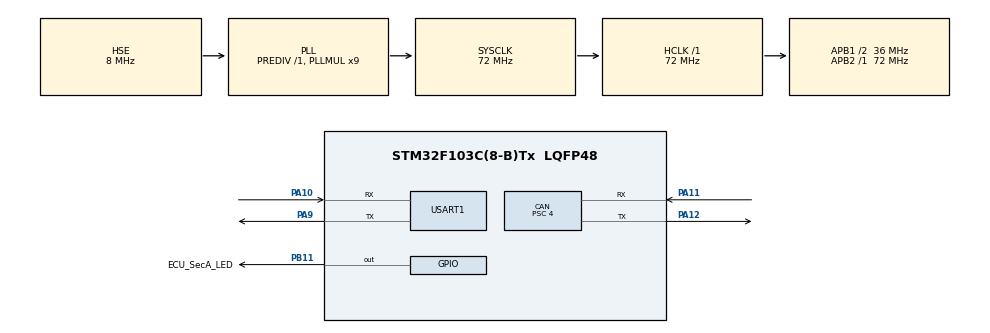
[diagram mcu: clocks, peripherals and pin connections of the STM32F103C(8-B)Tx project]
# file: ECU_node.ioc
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CAN.BS1=CAN_BS1_13TQ
CAN.BS2=CAN_BS2_4TQ
CAN.CalculateBaudRate=500000
CAN.CalculateTimeBit=2000
CAN.CalculateTimeQuantum=111.11111111111111
CAN.NART=ENABLE
CAN.Prescaler=4
CAN.SJW=CAN_SJW_2TQ
Mcu.Family=STM32F1
Mcu.Name=STM32F103C(8-B)Tx
Mcu.Package=LQFP48
NVIC.CAN1_RX1_IRQn=true\:0\:0\:false\:false\:true\:true\:true\:true
NVIC.PriorityGroup=NVIC_PRIORITYGROUP_4
NVIC.TIM4_IRQn=true\:0\:0\:false\:false\:true\:true\:true\:true
NVIC.USART1_IRQn=true\:0\:0\:false\:false\:true\:true\:true\:true
PA10.Mode=Asynchronous
PA10.Signal=USART1_RX
PA11.Mode=CAN_Activate
PA11.Signal=CAN_RX
PA12.Mode=CAN_Activate
PA12.Signal=CAN_TX
PA13.Mode=Serial_Wire
PA13.Signal=SYS_JTMS-SWDIO
PA14.Mode=Serial_Wire
PA14.Signal=SYS_JTCK-SWCLK
PA9.Mode=Asynchronous
PA9.Signal=USART1_TX
PB11.GPIO_Label=ECU_SecA_LED
PB11.GPIO_Speed=GPIO_SPEED_FREQ_HIGH
PB11.Signal=GPIO_Output
PD0-OSC_IN.Mode=HSE-External-Oscillator
PD0-OSC_IN.Signal=RCC_OSC_IN
PD1-OSC_OUT.Mode=HSE-External-Oscillator
PD1-OSC_OUT.Signal=RCC_OSC_OUT
ProjectManager.HeapSize=0x200
ProjectManager.StackSize=0x400
ProjectManager.TargetToolchain=STM32CubeIDE
RCC.AHBFreq_Value=72000000
RCC.APB1CLKDivider=RCC_HCLK_DIV2
RCC.APB1Freq_Value=36000000
RCC.APB1TimFreq_Value=72000000
RCC.APB2Freq_Value=72000000
RCC.APB2TimFreq_Value=72000000
RCC.HCLKFreq_Value=72000000
RCC.PLLMUL=RCC_PLL_MUL9
RCC.PLLSourceVirtual=RCC_PLLSOURCE_HSE
RCC.SYSCLKFreq_VALUE=72000000
RCC.SYSCLKSource=RCC_SYSCLKSOURCE_PLLCLK
RCC.USBFreq_Value=72000000
TIM4.AutoReloadPreload=TIM_AUTORELOAD_PRELOAD_ENABLE
TIM4.Period=9
TIM4.Prescaler=3599
USART1.VirtualMode=VM_ASYNC
VP_TIM4_VS_ClockSourceINT.Mode=Internal
board=custom

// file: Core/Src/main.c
/* USER CODE BEGIN Header */
/**
  ******************************************************************************
  * @file           : main.c
  * @brief          : Main program body
  * @identity		: ECU module
  ******************************************************************************
  * @attention
  *
  * Copyright (c) 2023 STMicroelectronics.
  * All rights reserved.
  *
  * This software is licensed under terms that can be found in the LICENSE file
  * in the root directory of this software component.
  * If no LICENSE file comes with this software, it is provided AS-IS.
  *
  ******************************************************************************
  */
/* USER CODE END Header */
#include "main.h"

/* USER CODE BEGIN Includes */
#include "stdint.h"
#include "string.h"
#include "stdio.h"
#include "stdlib.h"
/* USER CODE END Includes */

/* USER CODE BEGIN PTD */
typedef enum
{
	IDLE_STATE,
	READREQUEST_STATE,
	SECURITY_ACCESS_STATE,
	WRITEREQUEST_STATE,
}ECU_Status;

//typedef enum
//{
//	READ_SINGLEFRAME, //read seed
//	READ_FIRSTFRAME, //read KEY supported
//	READ_CONSECUTIVEFRAME, //read KEY supported
//	READ_FLOWCONTROL,
//}Frame_Status;

typedef enum
{
	SEND_SEED,
	CALCULATE_ECU_KEY,
	GET_TESTERKEY,
	AUTHENTICATE_TESTERKEY,
}Security_Status;

typedef enum
{
	LEVEL1,
}SecLevel;

/* USER CODE END PTD */

/* USER CODE BEGIN PD */
/*Diagnostic Message Format*/
#define FT_SINGLEFRAME 0x00
#define FT_FIRSTFRAME 0x10
#define FT_CONSECUTIVEFRAME 0x20
#define FT_FLOWCONTROL 0x30
/*Diagnostic Message Format*/
/*Data length Define*/
#define DL_NONE_DATABYTE 0x00
#define DL_1_DATABYTE 0x10
#define DL_2_DATABYTE 0x20
#define DL_3_DATABYTE 0x30
#define DL_4_DATABYTE 0x40
#define DL_5_DATABYTE 0x50
#define DL_6_DATABYTE 0x60
#define DL_7_DATABYTE 0x70
/*Data length Define*/
/*Response define*/
#define POSITIVE_RESPONSE 0x00U
#define NEGATIVE_RESPONSE 0x01U

//DID: 0x0123 - ECU Name (FF) - Test label (SF)
//#define ECU_MANUFACTURER_NAME "STM32F103C8T6" //For FF testcase
#define TEST_LABEL "TEST"
/*Define IDS - Indetifier Services*/
#define ReadDataByIdentifier 0x22
#define WriteDataByIndentifier 0x2E
#define SecurityAccess 0x27

/*Define security level*/
#define SEC_LEVEL1 0x01

/*Define Data Length*/
#define KEY_LENGTH 16
/*Define Data Length*/

/*Valid key definition*/
#define PASS_KEY 0x1
#define INVALID_KEY 0x0
 /**/
/* USER CODE END PD */

CAN_HandleTypeDef hcan;

TIM_HandleTypeDef htim4;

UART_HandleTypeDef huart1;

/* USER CODE BEGIN PV */
CAN_TxHeaderTypeDef ECU_TxHeader;
CAN_RxHeaderTypeDef ECU_RxHeader;

uint32_t ECU_TxMailbox;

uint8_t PositiveReadRsp_TxData[8];
uint8_t NegativeReadRsp_TxData[8] = {0x03,0x7F,0x22,0x13,0x00,0x00,0x00,0x00};
uint8_t SecuritySeed_TxData[8];
uint8_t SecurityFlowControl_TxData[8] = {0x30,0x00,0x00,0x00,0x00,0x00,0x00,0x00};

uint8_t SecurityNegativeResponse_TxData[8] = {0x03,0x7F,0x27,0x13,0x00,0x00,0x00,0x00};
uint8_t SecurityPositiveResponse_TxData[8] = {0x02,0x67,0x02,0x00,0x00,0x00,0x00,0x00};

uint8_t WritePositiveResponse_TxData[8] = {0x01,0x6E,0x00,0x00,0x00,0x00,0x00,0x00};
uint8_t WriteNegativeResponse_TxData[8] = {0x00,0x00,0x00,0x00,0x00,0x00,0x00,0x00};

uint8_t ECU_RxData[8],Tx_Buffer[55];

uint8_t DataBuffer[sizeof(TEST_LABEL)] = TEST_LABEL; //buffer link to 0x0123 DID

uint8_t FT_String, DL_String;

uint8_t FrameType, DataLength;
uint8_t SecurityLevel;

uint16_t DID_Val;
uint8_t key_level;

uint8_t index_array;

uint8_t error_flag = 0,  ReadRq_flag = 0, security_flag = 0;
uint8_t valid_key = 0;
uint8_t DID_available_flag = 0;
uint16_t timer_cnt = 0;

uint8_t seed[4];
uint8_t key[16];
//uint8_t check_key[16];
uint8_t count_checkkey_fc = 0; //count check key -> send flow control
uint8_t tester_key[16];
uint8_t prev_index_array;
uint8_t count_cf_read=1;

ECU_Status ecu_state;
Security_Status security_state = 0;
//Frame_Status frame_recv_state;
SecLevel level;

/* USER CODE END PV */

void SystemClock_Config(void);
static void MX_GPIO_Init(void);
static void MX_CAN_Init(void);
static void MX_USART1_UART_Init(void);
static void MX_TIM4_Init(void);
/* USER CODE BEGIN PFP */
uint8_t SF_N_PCI_FrameTypeHandle(uint8_t byteString);
uint8_t SF_N_PCI_DataLenngthHandle(uint8_t byteString);
uint8_t GetFrameType(uint8_t FT_byteString);
uint8_t GetDataLength(uint8_t DL_byteString);
uint8_t GetSecurityLevel(uint8_t LV_byteSring, uint8_t *keyLV_byteString);
uint8_t Check_ReadRq_Validation(uint8_t FT, uint8_t DL, uint8_t Data_buf[]);
uint8_t GetCANFrameSize(uint8_t aData[]);
uint16_t GetDID(uint8_t DID_HByteString,uint8_t DID_LByteString);
void ReadRequest_handle(void);
void GetDIDValueFromRecordTableOfDID(uint16_t DID_Val,uint8_t *buf_arr);
/* USER CODE END PFP */

/* USER CODE BEGIN 0 */

uint8_t GetSecurityLevel(uint8_t LV_byteSring, uint8_t *keyLV_byteString)
{
	uint8_t SecLevel_res;
	uint8_t key_lv;
	switch(LV_byteSring)
	{
		case SEC_LEVEL1:
		{
			key_lv = 0x02;
			keyLV_byteString = &key_lv;
			SecLevel_res = 0;
			break;
		}
	}
	return SecLevel_res;
}
uint16_t GetDID(uint8_t DID_HByteString,uint8_t DID_LByteString)
{
	uint16_t DID_res;
	DID_res = (DID_HByteString << 8) | DID_LByteString;
	return DID_res;
}
uint8_t GetCANFrameSize(uint8_t aData[])
{
	uint8_t SizeCount = 0;
	for(index_array=0;index_array<8;index_array++)
	{
		if(aData[index_array]!=0)
		{
			SizeCount++;
		}
	}
	return SizeCount;
}
uint8_t Check_ReadRq_Validation(uint8_t FT, uint8_t DL, uint8_t Data_buf[])
{
	uint8_t Resp_res;
	/*Negative response case*/
	//case 1
	if(FT > 3)
	{
		//transmit negative response
		Resp_res = NEGATIVE_RESPONSE;
	} else
	{
		switch(FT)
		{
			case 0: //single frame
			{
				if(DL>7)
				{
					Resp_res = NEGATIVE_RESPONSE;
				} else {
					if(DL != (GetCANFrameSize(Data_buf)-1))
					{
						//transmit negative response
						Resp_res = NEGATIVE_RESPONSE;
					} else {
						Resp_res = POSITIVE_RESPONSE;
					}
				}
				break;
			}
			case 1: //flow control
			{
				break;
			}
		}
	}

	return Resp_res;
}
uint8_t GetFrameType(uint8_t FT_byteString) //Frame type co the dung chung cho SF FF
{
	uint8_t FT_res;
	switch(FT_byteString)
	{
		case 0x00: //single frame
		{
			FT_res = 0;
			break;
		}
		case 0x01: //first frame
		{
			FT_res = 1;
			break;
		}
		case 0x02: //consecutive frame
		{
			FT_res = 2;
			break;
		}
		case 0x03: //flow control
		{
			FT_res = 3;
			break;
		}
	}
	return FT_res;
}
uint8_t GetDataLength(uint8_t DL_byteString) //Get datalength - co the trong tuong lai cai nay se dung chung duoc
{
	uint8_t DL_res;
	switch(DL_byteString)
	{
		case DL_NONE_DATABYTE:
		{
			DL_res = 0;
			break;
		}
		case DL_1_DATABYTE:
		{
			DL_res = 1;
			break;
		}
		case DL_2_DATABYTE:
		{
			DL_res = 2;
			break;
		}
		case DL_3_DATABYTE:
		{
			DL_res = 3;
			break;
		}
		case DL_4_DATABYTE:
		{
			DL_res = 4;
			break;
		}
		case DL_5_DATABYTE:
		{
			DL_res = 5;
			break;
		}
		case  DL_6_DATABYTE:
		{
			DL_res = 6;
			break;
		}
		case DL_7_DATABYTE:
		{
			DL_res = 7;
			break;
		}
	}
	return DL_res;
}
uint8_t SF_N_PCI_FrameTypeHandle(uint8_t byteString) //SF_PCI: Single Frame Protocol Control Info: FT + DL
{
	return (byteString >> 4) & 0x03;
}
uint8_t SF_N_PCI_DataLenngthHandle(uint8_t byteString) //SF_PCI: Single Frame Protocol Control Info: FT + DL
{
	return (byteString << 4) & 0x70;
}
void HAL_CAN_RxFifo1MsgPendingCallback(CAN_HandleTypeDef *hcan)
{
	if(HAL_CAN_GetRxMessage(hcan, CAN_RX_FIFO1, &ECU_RxHeader, ECU_RxData) != HAL_OK)
	{
		Error_Handler();
	}
	else
	{
		ReadRq_flag = 1;
	}
}

void ReadRequest_handle(void)
{
	FT_String = SF_N_PCI_FrameTypeHandle(ECU_RxData[0]);
	DL_String = SF_N_PCI_DataLenngthHandle(ECU_RxData[0]);

	FrameType = GetFrameType(FT_String);
	DataLength = GetDataLength(DL_String);

	if(Check_ReadRq_Validation(FrameType,DataLength, ECU_RxData) != POSITIVE_RESPONSE)
	{
		//transmit negative response CAN frame packet
		HAL_CAN_AddTxMessage(&hcan, &ECU_TxHeader,NegativeReadRsp_TxData,&ECU_TxMailbox);

	} else { //positive response
		DID_Val = GetDID(ECU_RxData[2], ECU_RxData[3]);

		//uint8_t *DataBuffer = (uint8_t*)malloc(sizeof(uint8_t));
		//GetDIDValueFromRecordTableOfDID(DID_Val,DataBuffer);

		switch(DID_Val)
		{
			case 0x0123:
				if(sizeof(DataBuffer)<8){
					PositiveReadRsp_TxData[0] = ECU_RxData[1] + 0x40;
					PositiveReadRsp_TxData[1] = ECU_RxData[2];
					PositiveReadRsp_TxData[2] = ECU_RxData[3];

					PositiveReadRsp_TxData[3] = FT_SINGLEFRAME + sizeof(DataBuffer); //du lieu data co do dai la 4 - TEST
					for (index_array = 0;index_array<sizeof(DataBuffer);index_array++)
					{
						PositiveReadRsp_TxData[index_array+4] = DataBuffer[index_array];
					}
					//gui single frame - chua toan bo du lieu
					if (HAL_CAN_AddTxMessage(&hcan, &ECU_TxHeader,PositiveReadRsp_TxData,&ECU_TxMailbox) != HAL_OK)
					{
						error_flag = 1;
					} else //Transmit oke
					{
						error_flag = 0;
					}
					} else {
						//first frame case - long data
					}
					//free(DataBuffer);
			break;
		}
	}
}

/* USER CODE END 0 */

int main(void)
{

  /* MCU Configuration--------------------------------------------------------*/

  /* Reset of all peripherals, Initializes the Flash interface and the Systick. */
  HAL_Init();

  /* Configure the system clock */
  SystemClock_Config();

  /* Initialize all configured peripherals */
  MX_GPIO_Init();
  MX_CAN_Init();
  MX_USART1_UART_Init();
  MX_TIM4_Init();
  /* USER CODE BEGIN 2 */
  HAL_TIM_Base_Start_IT(&htim4);

  HAL_CAN_Init(&hcan);

  //Send notify signal to recieve message from actuator node
  HAL_CAN_ActivateNotification(&hcan, CAN_IT_RX_FIFO1_MSG_PENDING);

  CAN_FilterTypeDef canfilterconfig;

  canfilterconfig.FilterActivation = CAN_FILTER_ENABLE;
  canfilterconfig.FilterBank = 2;  // anything between 0 to SlaveStartFilterBank
  canfilterconfig.FilterFIFOAssignment = CAN_RX_FIFO1;
  canfilterconfig.FilterIdHigh = 0x712 << 5;
  canfilterconfig.FilterIdLow = 0x0000;
  canfilterconfig.FilterMaskIdHigh = 0x712 << 5;
  canfilterconfig.FilterMaskIdLow = 0x0000;
  canfilterconfig.FilterMode = CAN_FILTERMODE_IDMASK;
  canfilterconfig.FilterScale = CAN_FILTERSCALE_32BIT;
  //canfilterconfig.SlaveStartFilterBank = 14;

   HAL_CAN_ConfigFilter(&hcan, &canfilterconfig);

   HAL_CAN_Start(&hcan);

   //Tx ECU header general
   //Config CAN Tx header
   ECU_TxHeader.DLC = 8;
   ECU_TxHeader.ExtId = 0;
   ECU_TxHeader.IDE = CAN_ID_STD;
   ECU_TxHeader.RTR = CAN_RTR_DATA;
   ECU_TxHeader.StdId = 0x7A2;
   ECU_TxHeader.TransmitGlobalTime = DISABLE;

  /* USER CODE END 2 */

  /* Infinite loop */
  /* USER CODE BEGIN WHILE */
  while (1)
  {
	 HAL_Delay(1000);

	 switch(ecu_state)
	 {
	 	 case IDLE_STATE:
	 	 {
	 		 if(ReadRq_flag == 1)
	 		 {
	 			 switch(ECU_RxData[1])
	 			 {
	 			 	 case ReadDataByIdentifier:
	 			 	 {
	 			 		 ecu_state = READREQUEST_STATE;
	 			 		 break;
	 			 	 }
	 			 	 case WriteDataByIndentifier:
	 			 	 {
	 			 		 if(security_flag == 0)
	 			 		 {
//	 			 			 //do nothing because there is no definition for this - ignore
//	 			 			 //solution 1 - just go back to idle state
//	 			 			 //solution 2 - Security Access then write
	 			 		 }
	 			 		 else if(security_flag == 1)
	 			 		 {
	 			 			ecu_state = WRITEREQUEST_STATE;
	 			 		 }
	 			 		 break;
	 			 	 }
	 			 	 case SecurityAccess:
	 			 	 {
	 			 		 ecu_state = SECURITY_ACCESS_STATE;
	 			 		 break;
	 			 	 }
	 			 }
	 			ReadRq_flag = 0;
	 		 } else if (ReadRq_flag == 0)
	 		 {
	 			 ecu_state = IDLE_STATE;
	 		 }
	 		 break;
	 	 }
	 	 case READREQUEST_STATE:
	 	 {
	 		 ReadRequest_handle();
	 		 ecu_state = IDLE_STATE;
	 		 break;
	 	 }
	 	 case WRITEREQUEST_STATE:
	 	 {
	 		 //receive write request
	 		 if(ReadRq_flag == 1)
	 		 {
	 			 if(FrameType == 0)
	 			 {
	 				DID_Val = GetDID(ECU_RxData[2], ECU_RxData[3]);

	 				switch(DID_Val)
	 				{
	 					case 0x0123:
	 					{
	 						DID_available_flag = 1;
	 						break;
	 					}
	 				}

	 				if(DID_available_flag == 1)
	 				{
	 					//check data length >= 4 bytes
	 					DL_String = SF_N_PCI_DataLenngthHandle(ECU_RxData[0]);
	 					DataLength = GetDataLength(DL_String);

	 					if(DataLength>=4)
	 					{
	 						//write to data buffer
	 						for(index_array = 0;index_array<4;index_array++)
	 						{
	 							DataBuffer[index_array] = ECU_RxData[index_array+4];
	 						}
	 						//send positive response
	 						if(HAL_CAN_AddTxMessage(&hcan,&ECU_TxHeader,WritePositiveResponse_TxData,&ECU_TxMailbox)!=HAL_OK)
	 						{
	 							error_flag = 1;
	 						} else {
	 							error_flag = 0;
	 						}

	 					} else {
	 						//send negative response for data length

	 						WriteNegativeResponse_TxData[0] = 0x7F;
	 						WriteNegativeResponse_TxData[1] = 0x2E;
	 						WriteNegativeResponse_TxData[2] = 0x13;

	 						if(HAL_CAN_AddTxMessage(&hcan,&ECU_TxHeader,WriteNegativeResponse_TxData,&ECU_TxMailbox)!=HAL_OK)
	 						{
	 							error_flag = 1;
	 						} else {
	 							error_flag = 0;
	 						}
	 					}

	 					DID_available_flag = 0;
	 					} else { //else no DID
	 						//send negative response - DID is not supported

	 						WriteNegativeResponse_TxData[0] = 0x7F;
	 						WriteNegativeResponse_TxData[1] = 0x2E;
	 						WriteNegativeResponse_TxData[2] = 0x31;

	 						if(HAL_CAN_AddTxMessage(&hcan,&ECU_TxHeader,WriteNegativeResponse_TxData,&ECU_TxMailbox)!=HAL_OK)
	 						{
	 							error_flag = 1;
	 						} else {
	 							error_flag = 0;
	 						}
	 				}
	 			 }
	 			 ReadRq_flag = 0;
	 		 }
	 		 ecu_state = IDLE_STATE;
	 		 break;
	 	 }
	 	 case SECURITY_ACCESS_STATE:
	 	 {
	 		 switch(security_state)
	 		 {
	 		 	 case SEND_SEED: //truoc do da nhan duoc goi request security tu tester
	 		 	 {
	 		 		SecurityLevel = GetSecurityLevel(ECU_RxData[2],&key_level);
	 		 		//mac dinh dang xu ly cho Security level 1
	 		 		switch(SecurityLevel)
	 		 		{
	 		 			case LEVEL1:
	 		 			{
	 		 				//format Seed tx buffer
	 		 				SecuritySeed_TxData[0] = 0x06;
	 		 			 	SecuritySeed_TxData[1] = ECU_RxData[1] + 40;
	 		 			 	SecuritySeed_TxData[2] = ECU_RxData[2];
	 		 			 	//format seed before sending
	 		 			 	//random generate seed
	 		 			 	seed[0] = rand()%255;
	 		 			 	seed[1] = rand()%255;
	 		 			 	seed[2] = rand()%255;
	 		 			 	seed[3] = rand()%255;
	 		 			 	//add to seed transmit data
	 		 			 	SecuritySeed_TxData[3] = seed[0];
	 		 			 	SecuritySeed_TxData[4] = seed[1];
	 		 			 	SecuritySeed_TxData[5] = seed[2];
	 		 			 	SecuritySeed_TxData[6] = seed[3];
	 		 			 	//restric random bytes while transmiting
	 		 			 	SecuritySeed_TxData[7] = 0x00;
	 		 			 	SecuritySeed_TxData[8] = 0x00;
	 		 			 	//response seed to Tester
	 		 			 	if(HAL_CAN_AddTxMessage(&hcan,&ECU_TxHeader,SecuritySeed_TxData,&ECU_TxMailbox) != HAL_OK)
	 		 			 	{
	 		 			 		error_flag = 1;
	 		 			 	} else {
	 		 			 		error_flag = 0;
	 		 			 	}
	 		 				break;
	 		 			 }
	 		 		}
	 		 		ReadRq_flag = 0;
	 		 		break;
	 		 	   }
	 		 	 case CALCULATE_ECU_KEY:
	 		 	 {
	 		 		if(ReadRq_flag == 1)
	 		 		{
	 		 			FT_String = SF_N_PCI_FrameTypeHandle(ECU_RxData[0]);
	 		 			FrameType = GetFrameType(FT_String);

	 		 			 if(FrameType==1) //first frame detected
	 		 			 {
	 		 			 	//mac dinh dang xu ly cho Security level 1
	 		 				 switch(SecurityLevel)
	 		 				 {
	 		 				 	 case LEVEL1:
	 		 				 	 {
	 		 				 		 if(key_level == ECU_RxData[3])
	 		 				 		 {
	 		 				 			//self calculate key
	 		 				 			//calc key
	 		 				 			key[0] = seed[0] ^ seed[1]; //xor
	 		 				 			key[1] = seed[1] + seed[2];
	 		 				 			key[2] = seed[2] ^ seed[3];
	 		 				 			key[3] = seed[3] + seed[0];

	 		 				 			key[4] = seed[0] | seed[1];
	 		 				 			key[5] = seed[1] + seed[2];
	 		 				 			key[6] = seed[2] | seed[3];
	 		 				 			key[7] = seed[3] + seed[0];

	 		 				 			key[8] = seed[0] & seed[1];
	 		 				 			key[9] = seed[1] + seed[2];
	 		 				 			key[10] = seed[2] & seed[3];
	 		 				 			key[11] = seed[3] + seed[0];

	 		 				 			key[12] = seed[0] - seed[1];
	 		 				 			key[13] = seed[1] + seed[2];
	 		 				 			key[14] = seed[2] - seed[3];
	 		 				 			key[15] = seed[3] + seed[0];
	 		 				 		 }
	 		 				 		 break;
	 		 				 	 }
	 		 				 }
	 		 				}
	 		 				//check key0 - key 3 dung thi gui ve flow control gui tiep
	 		 				tester_key[0] = ECU_RxData[4];
	 		 				tester_key[1] = ECU_RxData[5];
	 		 				tester_key[2] = ECU_RxData[6];
	 		 				tester_key[3] = ECU_RxData[7];
	 		 				//for roi so sanh - se co bien count corrrect -  count correct == 4 -> send flow control
	 		 				for(index_array = 0;index_array<4;index_array++)
	 		 				{
	 		 					if(tester_key[index_array] == key[index_array])
	 		 					{
	 		 					 	count_checkkey_fc++;
	 		 					 }
	 		 				}

	 		 				if(count_checkkey_fc == 4 && ECU_RxData[1]==KEY_LENGTH)//4 key corrrect send back flow control
	 		 				{
	 		 					if(HAL_CAN_AddTxMessage(&hcan,&ECU_TxHeader,SecurityFlowControl_TxData,&ECU_TxMailbox)!=HAL_OK)
	 		 					{
	 		 					 	error_flag = 1;
	 		 					}
	 		 					else {
	 		 					 	error_flag = 0;
	 		 					 	security_state = AUTHENTICATE_TESTERKEY;
	 		 					}
	 		 				}
	 		 		}
	 		 		ReadRq_flag = 0;
	 		 		break;
	 		 	 }
	 		 	 case GET_TESTERKEY:
	 		 	 {
	 		 		 //handle consecutive frame recieve - nhan du so frame can nhan thi tien hanh bat co cho phep request write
	 		 		 //step1: get full key from tester
	 		 		 uint8_t max_cf_read = KEY_LENGTH/7+1;
	 		 		 //read = 1 -> check frametype -> count += 1
	 		 		 if(ReadRq_flag==1)
	 		 		 {
	 		 			 if(FrameType==2) //consecutive frame detected
	 		 			 {
	 		 				 if(count_cf_read<=max_cf_read)
	 		 				 {
	 		 					 for(index_array=prev_index_array;index_array<prev_index_array+7;index_array++)
	 		 					 {
	 		 						 tester_key[index_array] = ECU_RxData[(index_array-prev_index_array)+1];
	 		 					 }
	 		 					 prev_index_array = index_array;
	 		 					 count_cf_read++;
	 		 				 }else{
	 		 					 security_state = AUTHENTICATE_TESTERKEY;
	 		 				 }
	 		 			 }
	 		 		 }
	 		 		 //step2: change state to authenticate
	 		 		 break;
	 		 	 }
	 		 	 case AUTHENTICATE_TESTERKEY:
	 		 	 {
	 		 		 //valid key
	 		 		 for(index_array=0;index_array<KEY_LENGTH;index_array++)
	 		 		 {
	 		 			 if(tester_key[index_array]==key[index_array])
	 		 			 {
	 		 				 valid_key = 1;
	 		 			 } else if(tester_key[index_array]!=key[index_array])
	 		 			 {
	 		 				 valid_key = 0;
	 		 				 break;
	 		 			 }
	 		 		 }

	 		 		 switch(valid_key) //valid key state
	 		 		 {
	 		 		 	 case PASS_KEY:
	 		 		 	 {
	 		 		 		 //send positive response to let tester write data to ecu
	 		 		 		 if(HAL_CAN_AddTxMessage(&hcan,&ECU_TxHeader,SecurityPositiveResponse_TxData,&ECU_TxMailbox)!=HAL_OK)
	 		 		 		 {
	 		 		 			 error_flag = 1;
	 		 		 		 } else
	 		 		 		 {
	 		 		 			 error_flag = 0;
	 		 		 			 //key pass, turn on security flag
	 		 		 			 security_flag = 1;
	 		 		 			 ecu_state = IDLE_STATE;
	 		 		 		 }
	 		 		 		 break;
	 		 		 	 }
	 		 		 	 case INVALID_KEY:
	 		 		 	 {
	 		 		 		 //send negative response with invalid key error code
	 		 		 		if(HAL_CAN_AddTxMessage(&hcan,&ECU_TxHeader,SecurityNegativeResponse_TxData,&ECU_TxMailbox)!=HAL_OK)
	 		 		 		{
	 		 		 			error_flag = 1;
	 		 		 		} else
	 		 		 		{
	 		 		 			error_flag = 0;
	 		 		 			security_flag = 0;
	 		 		 			ecu_state = IDLE_STATE;
	 		 		 		}
	 		 		 		 break;
	 		 		 	 }
	 		 		 }
	 		 		 break;
	 		 	 }

	 		 }
	 		 break; //break security access state
	 	 }

	 }

    /* USER CODE END WHILE */

  }
}

void SystemClock_Config(void)
{
  RCC_OscInitTypeDef RCC_OscInitStruct = {0};
  RCC_ClkInitTypeDef RCC_ClkInitStruct = {0};

  /** Initializes the RCC Oscillators according to the specified parameters
  * in the RCC_OscInitTypeDef structure.
  */
  RCC_OscInitStruct.OscillatorType = RCC_OSCILLATORTYPE_HSE;
  RCC_OscInitStruct.HSEState = RCC_HSE_ON;
  RCC_OscInitStruct.HSEPredivValue = RCC_HSE_PREDIV_DIV1;
  RCC_OscInitStruct.HSIState = RCC_HSI_ON;
  RCC_OscInitStruct.PLL.PLLState = RCC_PLL_ON;
  RCC_OscInitStruct.PLL.PLLSource = RCC_PLLSOURCE_HSE;
  RCC_OscInitStruct.PLL.PLLMUL = RCC_PLL_MUL9;
  if (HAL_RCC_OscConfig(&RCC_OscInitStruct) != HAL_OK)
  {
    Error_Handler();
  }

  /** Initializes the CPU, AHB and APB buses clocks
  */
  RCC_ClkInitStruct.ClockType = RCC_CLOCKTYPE_HCLK|RCC_CLOCKTYPE_SYSCLK
                              |RCC_CLOCKTYPE_PCLK1|RCC_CLOCKTYPE_PCLK2;
  RCC_ClkInitStruct.SYSCLKSource = RCC_SYSCLKSOURCE_PLLCLK;
  RCC_ClkInitStruct.AHBCLKDivider = RCC_SYSCLK_DIV1;
  RCC_ClkInitStruct.APB1CLKDivider = RCC_HCLK_DIV2;
  RCC_ClkInitStruct.APB2CLKDivider = RCC_HCLK_DIV1;

  if (HAL_RCC_ClockConfig(&RCC_ClkInitStruct, FLASH_LATENCY_2) != HAL_OK)
  {
    Error_Handler();
  }
}

static void MX_CAN_Init(void)
{

  hcan.Instance = CAN1;
  hcan.Init.Prescaler = 4;
  hcan.Init.Mode = CAN_MODE_NORMAL;
  hcan.Init.SyncJumpWidth = CAN_SJW_2TQ;
  hcan.Init.TimeSeg1 = CAN_BS1_13TQ;
  hcan.Init.TimeSeg2 = CAN_BS2_4TQ;
  hcan.Init.TimeTriggeredMode = DISABLE;
  hcan.Init.AutoBusOff = DISABLE;
  hcan.Init.AutoWakeUp = DISABLE;
  hcan.Init.AutoRetransmission = ENABLE;
  hcan.Init.ReceiveFifoLocked = DISABLE;
  hcan.Init.TransmitFifoPriority = DISABLE;
  if (HAL_CAN_Init(&hcan) != HAL_OK)
  {
    Error_Handler();
  }

}

static void MX_TIM4_Init(void)
{

  TIM_ClockConfigTypeDef sClockSourceConfig = {0};
  TIM_MasterConfigTypeDef sMasterConfig = {0};

  htim4.Instance = TIM4;
  htim4.Init.Prescaler = 3599;
  htim4.Init.CounterMode = TIM_COUNTERMODE_UP;
  htim4.Init.Period = 9;
  htim4.Init.ClockDivision = TIM_CLOCKDIVISION_DIV1;
  htim4.Init.AutoReloadPreload = TIM_AUTORELOAD_PRELOAD_ENABLE;
  if (HAL_TIM_Base_Init(&htim4) != HAL_OK)
  {
    Error_Handler();
  }
  sClockSourceConfig.ClockSource = TIM_CLOCKSOURCE_INTERNAL;
  if (HAL_TIM_ConfigClockSource(&htim4, &sClockSourceConfig) != HAL_OK)
  {
    Error_Handler();
  }
  sMasterConfig.MasterOutputTrigger = TIM_TRGO_RESET;
  sMasterConfig.MasterSlaveMode = TIM_MASTERSLAVEMODE_DISABLE;
  if (HAL_TIMEx_MasterConfigSynchronization(&htim4, &sMasterConfig) != HAL_OK)
  {
    Error_Handler();
  }

}

static void MX_USART1_UART_Init(void)
{

  huart1.Instance = USART1;
  huart1.Init.BaudRate = 115200;
  huart1.Init.WordLength = UART_WORDLENGTH_8B;
  huart1.Init.StopBits = UART_STOPBITS_1;
  huart1.Init.Parity = UART_PARITY_NONE;
  huart1.Init.Mode = UART_MODE_TX_RX;
  huart1.Init.HwFlowCtl = UART_HWCONTROL_NONE;
  huart1.Init.OverSampling = UART_OVERSAMPLING_16;
  if (HAL_UART_Init(&huart1) != HAL_OK)
  {
    Error_Handler();
  }

}

static void MX_GPIO_Init(void)
{
  GPIO_InitTypeDef GPIO_InitStruct = {0};

  /* GPIO Ports Clock Enable */
  __HAL_RCC_GPIOD_CLK_ENABLE();
  __HAL_RCC_GPIOB_CLK_ENABLE();
  __HAL_RCC_GPIOA_CLK_ENABLE();

  /*Configure GPIO pin Output Level */
  HAL_GPIO_WritePin(ECU_SecA_LED_GPIO_Port, ECU_SecA_LED_Pin, GPIO_PIN_RESET);

  /*Configure GPIO pin : ECU_SecA_LED_Pin */
  GPIO_InitStruct.Pin = ECU_SecA_LED_Pin;
  GPIO_InitStruct.Mode = GPIO_MODE_OUTPUT_PP;
  GPIO_InitStruct.Pull = GPIO_NOPULL;
  GPIO_InitStruct.Speed = GPIO_SPEED_FREQ_HIGH;
  HAL_GPIO_Init(ECU_SecA_LED_GPIO_Port, &GPIO_InitStruct);

}

/* USER CODE BEGIN 4 */
void HAL_TIM_PeriodElapsedCallback(TIM_HandleTypeDef *htim) //!WARNING: Don't change
{
	if(htim == &htim4) //behavior led function timer
	{
		if(security_flag == 1)
		{
			//turn on led
			HAL_GPIO_WritePin(GPIOB, GPIO_PIN_11,GPIO_PIN_SET);
			if(timer_cnt++==5000)
			{
				//turn off led
				HAL_GPIO_WritePin(GPIOB, GPIO_PIN_11,GPIO_PIN_RESET);
				security_flag = 0;
				//reset timer
				timer_cnt = 0; //reset timer
			}
		}
	}
}
/* USER CODE END 4 */

void Error_Handler(void)
{
  __disable_irq();
  while (1)
  {
  }
}
